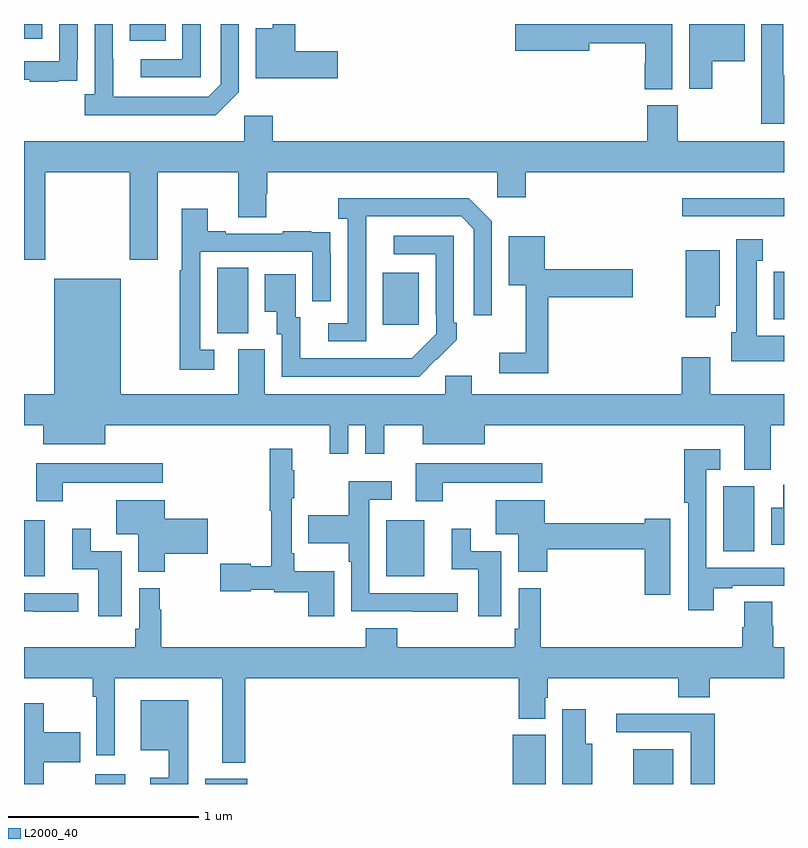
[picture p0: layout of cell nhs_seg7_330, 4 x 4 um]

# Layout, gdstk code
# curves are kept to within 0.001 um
import gdstk
lib = gdstk.Library(unit=1e-6, precision=1e-09)
def R(c, l, rs):  # rectangles x0, y0, x1, y1
    for r in rs: c.add(gdstk.rectangle(r[:2], r[2:], *l))
def P(c, l, *ps):  # polygons
    for p in ps: c.add(gdstk.Polygon(p, *l))
L2000_40 = (2000, 40)

nhs_seg7_330 = lib.new_cell('nhs_seg7_330')
R(nhs_seg7_330, L2000_40, [(135.374,1060,135.532,1060.051), (135.953,1060,136.176,1060.027), (137.573,1060,137.746,1060.258), (138.206,1060,138.418,1060.183), (135,1061.093,135.109,1061.389), (136.907,1061.093,137.107,1061.389), (138.68,1061.224,138.844,1061.568), (136.016,1062.373,136.18,1062.716), (136.889,1062.417,137.077,1062.691), (138.945,1062.446,139,1062.696), (138.465,1062.987,139,1063.084), (135.557,1063.913,135.745,1064), (135,1063.923,135.097,1064)])
P(nhs_seg7_330, L2000_40, [(135.179,1063.701),(135.281,1063.701),(135.281,1063.81),(135.282,1063.81),(135.282,1064),(135.186,1064),(135.186,1063.803),(135,1063.803),(135,1063.707),(135.031,1063.707),(135.031,1063.695),(135.179,1063.695)],
  [(139,1063.729),(138.997,1063.729),(138.997,1064),(138.881,1064),(138.881,1063.475),(139,1063.475)],
  [(136.131,1063.641),(136.131,1064),(136.035,1064),(136.035,1063.683),(135.969,1063.617),(135.469,1063.617),(135.468,1064),(135.372,1064),(135.372,1063.63),(135.321,1063.63),(135.321,1063.52),(136.01,1063.52)],
  [(135.93,1064),(135.834,1064),(135.834,1063.815),(135.615,1063.815),(135.615,1063.719),(135.93,1063.719)],
  [(136.651,1063.856),(136.427,1063.856),(136.427,1064),(136.31,1064),(136.31,1063.978),(136.22,1063.978),(136.22,1063.714),(136.651,1063.714)],
  [(138.622,1063.805),(138.793,1063.805),(138.793,1064),(138.5,1064),(138.5,1063.659),(138.622,1063.659)],
  [(138.412,1064),(137.586,1064),(137.586,1063.858),(137.974,1063.858),(137.974,1063.9),(138.271,1063.9),(138.271,1063.793),(138.266,1063.793),(138.266,1063.657),(138.412,1063.657)],
  [(135,1062.759),(135.111,1062.759),(135.111,1063.22),(135.556,1063.22),(135.556,1062.759),(135.703,1062.759),(135.703,1063.22),(136.127,1063.22),(136.127,1062.982),(136.275,1062.982),(136.275,1063.107),(136.28,1063.107),(136.28,1063.22),(137.49,1063.22),(137.49,1063.089),(137.642,1063.089),(137.642,1063.22),(139,1063.22),(139,1063.384),(138.441,1063.384),(138.441,1063.572),(138.281,1063.572),(138.281,1063.384),(136.31,1063.384),(136.31,1063.516),(136.158,1063.516),(136.158,1063.384),(135,1063.384)],
  [(136.8,1062.787),(136.801,1062.987),(137.301,1062.987),(137.367,1062.921),(137.367,1062.468),(137.463,1062.468),(137.463,1062.963),(137.342,1063.084),(136.653,1063.084),(136.653,1062.974),(136.704,1062.974),(136.704,1062.426),(136.602,1062.426),(136.602,1062.33),(136.8,1062.33)],
  [(136,1062.285),(135.927,1062.285),(135.927,1062.801),(136.518,1062.801),(136.518,1062.54),(136.614,1062.54),(136.614,1062.794),(136.613,1062.794),(136.613,1062.903),(136.511,1062.903),(136.511,1062.91),(136.363,1062.91),(136.363,1062.897),(136.063,1062.897),(136.063,1062.91),(135.967,1062.91),(135.967,1063.027),(135.831,1063.027),(135.831,1062.704),(135.819,1062.704),(135.819,1062.18),(136,1062.18)],
  [(137.171,1062.235),(137.172,1062.234),(137.277,1062.339),(137.277,1062.427),(137.262,1062.427),(137.262,1062.885),(136.947,1062.885),(136.947,1062.789),(137.166,1062.789),(137.166,1062.469),(137.169,1062.469),(137.169,1062.369),(137.041,1062.241),(136.453,1062.24),(136.453,1062.456),(136.429,1062.456),(136.429,1062.682),(136.268,1062.682),(136.268,1062.485),(136.331,1062.485),(136.331,1062.366),(136.356,1062.366),(136.356,1062.144),(137.08,1062.144)],
  [(137.759,1062.563),(138.205,1062.563),(138.205,1062.71),(137.74,1062.71),(137.74,1062.883),(137.552,1062.883),(137.552,1062.626),(137.642,1062.626),(137.642,1062.271),(137.502,1062.271),(137.502,1062.162),(137.759,1062.162)],
  [(139,1062.358),(138.856,1062.358),(138.856,1062.755),(138.889,1062.755),(138.889,1062.868),(138.749,1062.868),(138.749,1062.378),(138.722,1062.378),(138.722,1062.224),(139,1062.224)],
  [(138.64,1062.516),(138.661,1062.516),(138.661,1062.808),(138.482,1062.808),(138.482,1062.456),(138.64,1062.456)],
  [(136.267,1062.288),(136.127,1062.288),(136.127,1062.052),(135.508,1062.052),(135.508,1062.658),(135.158,1062.658),(135.158,1062.052),(135,1062.052),(135,1061.888),(135.101,1061.888),(135.101,1061.789),(135.427,1061.789),(135.427,1061.888),(136.61,1061.888),(136.61,1061.739),(136.707,1061.739),(136.707,1061.888),(136.797,1061.888),(136.797,1061.739),(136.895,1061.739),(136.895,1061.888),(137.099,1061.888),(137.099,1061.789),(137.425,1061.789),(137.425,1061.888),(138.791,1061.888),(138.791,1061.653),(138.931,1061.653),(138.931,1061.888),(139,1061.888),(139,1062.052),(138.613,1062.052),(138.613,1062.247),(138.461,1062.247),(138.461,1062.052),(137.356,1062.052),(137.356,1062.15),(137.217,1062.15),(137.217,1062.052),(136.267,1062.052)],
  [(136.633,1061.119),(136.423,1061.119),(136.423,1061.215),(136.41,1061.215),(136.41,1061.503),(136.423,1061.503),(136.423,1061.651),(136.412,1061.651),(136.412,1061.764),(136.294,1061.764),(136.294,1061.439),(136.302,1061.439),(136.302,1061.146),(136.194,1061.146),(136.194,1061.158),(136.032,1061.158),(136.032,1061.014),(136.194,1061.014),(136.194,1061.022),(136.317,1061.022),(136.317,1061.01),(136.495,1061.01),(136.495,1060.884),(136.633,1060.884)],
  [(138.631,1061.031),(138.727,1061.031),(138.727,1061.043),(139,1061.043),(139,1061.139),(138.591,1061.139),(138.591,1061.655),(138.664,1061.655),(138.664,1061.761),(138.475,1061.761),(138.475,1061.479),(138.495,1061.479),(138.495,1060.914),(138.631,1060.914)],
  [(137.203,1061.585),(137.728,1061.585),(137.728,1061.689),(137.063,1061.689),(137.063,1061.487),(137.203,1061.487)],
  [(135.205,1061.585),(135.73,1061.585),(135.73,1061.689),(135.065,1061.689),(135.065,1061.487),(135.205,1061.487)],
  [(137.284,1061.004),(136.818,1061.004),(136.818,1061.496),(136.936,1061.496),(136.936,1061.593),(136.71,1061.593),(136.71,1061.415),(136.495,1061.415),(136.495,1061.267),(136.71,1061.267),(136.71,1061.171),(136.722,1061.171),(136.722,1060.908),(137.047,1060.908),(137.047,1060.907),(137.284,1060.907)],
  [(139,1061.574),(138.995,1061.574),(138.995,1061.455),(138.932,1061.455),(138.932,1061.259),(139,1061.259)],
  [(138.4,1061.396),(138.266,1061.396),(138.266,1061.372),(137.74,1061.372),(137.74,1061.494),(137.483,1061.494),(137.483,1061.315),(137.6,1061.315),(137.6,1061.118),(137.753,1061.118),(137.753,1061.236),(138.266,1061.236),(138.266,1060.995),(138.4,1060.995)],
  [(135.742,1061.213),(135.967,1061.213),(135.967,1061.396),(135.742,1061.396),(135.742,1061.494),(135.485,1061.494),(135.485,1061.315),(135.602,1061.315),(135.602,1061.118),(135.742,1061.118)],
  [(137.512,1061.226),(137.35,1061.226),(137.35,1061.344),(137.252,1061.344),(137.252,1061.13),(137.39,1061.13),(137.39,1060.884),(137.512,1060.884)],
  [(135.514,1061.226),(135.352,1061.226),(135.352,1061.344),(135.254,1061.344),(135.254,1061.13),(135.392,1061.13),(135.392,1060.884),(135.514,1060.884)],
  [(136.165,1060.556),(137.603,1060.556),(137.603,1060.343),(137.743,1060.343),(137.743,1060.455),(137.756,1060.455),(137.756,1060.556),(138.443,1060.556),(138.443,1060.457),(138.608,1060.457),(138.608,1060.556),(139,1060.556),(139,1060.72),(138.944,1060.72),(138.944,1060.833),(138.939,1060.833),(138.939,1060.958),(138.791,1060.958),(138.791,1060.826),(138.779,1060.826),(138.779,1060.72),(137.72,1060.72),(137.72,1061.029),(137.604,1061.029),(137.604,1060.816),(137.584,1060.816),(137.584,1060.72),(136.964,1060.72),(136.964,1060.819),(136.799,1060.819),(136.799,1060.72),(135.722,1060.72),(135.722,1060.916),(135.715,1060.916),(135.715,1061.029),(135.606,1061.029),(135.606,1060.816),(135.586,1060.816),(135.586,1060.72),(135,1060.72),(135,1060.556),(135.361,1060.556),(135.361,1060.46),(135.381,1060.46),(135.381,1060.152),(135.478,1060.152),(135.478,1060.556),(136.043,1060.556),(136.043,1060.112),(136.165,1060.112)],
  [(135.286,1061.004),(135,1061.004),(135,1060.908),(135.049,1060.908),(135.049,1060.907),(135.286,1060.907)],
  [(135.865,1060.441),(135.614,1060.441),(135.614,1060.178),(135.761,1060.178),(135.761,1060.033),(135.665,1060.033),(135.665,1060),(135.865,1060)],
  [(135.103,1060.115),(135.296,1060.115),(135.296,1060.273),(135.103,1060.273),(135.103,1060.426),(135,1060.426),(135,1060),(135.103,1060)],
  [(137.992,1060.213),(137.956,1060.213),(137.956,1060.393),(137.834,1060.393),(137.834,1060),(137.992,1060)],
  [(138.635,1060.37),(138.117,1060.37),(138.117,1060.272),(138.509,1060.272),(138.509,1060),(138.635,1060)])

lib.write_gds('nhs_seg7_330.gds')
